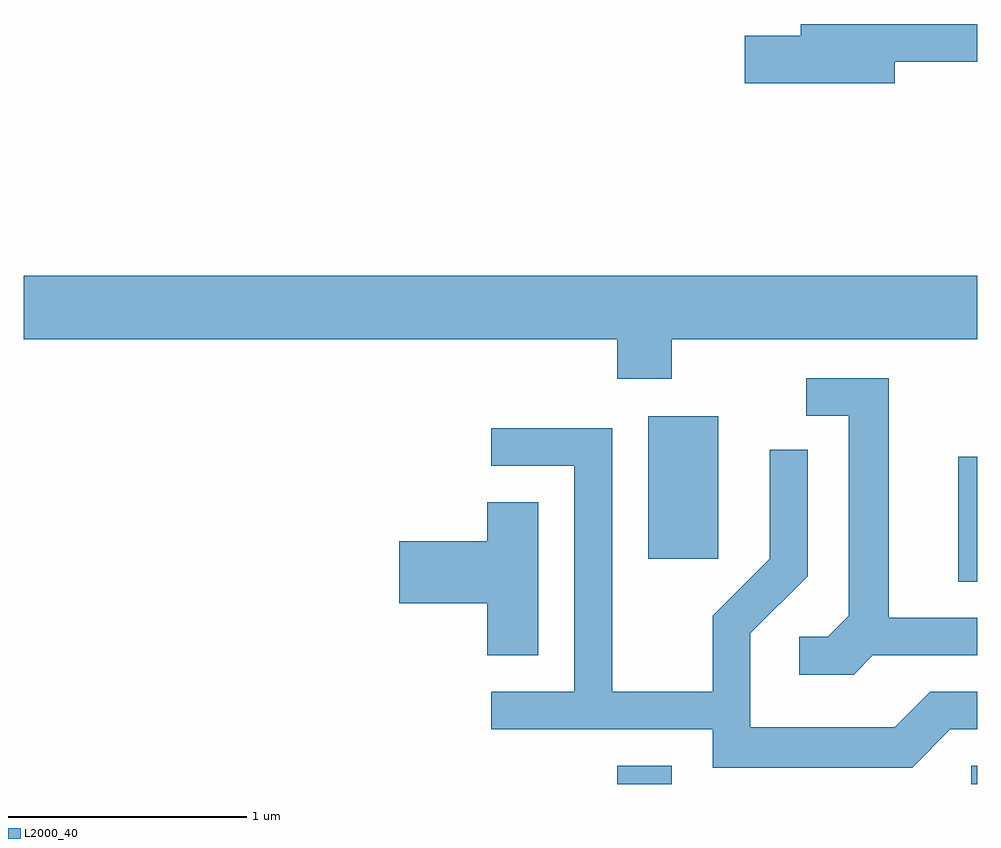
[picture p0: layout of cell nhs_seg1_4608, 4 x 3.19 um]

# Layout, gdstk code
import gdstk
lib = gdstk.Library(unit=1e-6, precision=1e-09)
def R(c, l, rs):  # rectangles x0, y0, x1, y1
    for r in rs: c.add(gdstk.rectangle(r[:2], r[2:], *l))
def P(c, l, *ps):  # polygons
    for p in ps: c.add(gdstk.Polygon(p, *l))
L2000_40 = (2000, 40)

nhs_seg1_4608 = lib.new_cell('nhs_seg1_4608')
R(nhs_seg1_4608, L2000_40, [(326.101,897.712,326.329,897.789), (327.586,897.712,327.611,897.789), (327.531,898.561,327.611,899.084), (326.231,898.656,326.524,899.254)])
P(nhs_seg1_4608, L2000_40, [(327.264,900.741),(327.611,900.741),(327.611,900.899),(326.871,900.899),(326.871,900.849),(326.636,900.849),(326.636,900.651),(327.264,900.651)],
  [(326.329,899.576),(327.611,899.576),(327.611,899.844),(323.611,899.844),(323.611,899.576),(326.101,899.576),(326.101,899.411),(326.329,899.411)],
  [(327.172,898.251),(327.611,898.251),(327.611,898.409),(327.239,898.409),(327.239,899.414),(326.893,899.414),(326.893,899.256),(327.071,899.256),(327.071,898.417),(326.984,898.329),(326.863,898.329),(326.863,898.171),(327.092,898.171)],
  [(327.497,897.941),(327.611,897.941),(327.611,898.099),(327.414,898.099),(327.264,897.949),(326.659,897.949),(326.659,898.344),(326.899,898.584),(326.899,899.113),(326.741,899.113),(326.741,898.657),(326.501,898.417),(326.501,898.099),(326.079,898.099),(326.079,899.204),(325.573,899.204),(325.573,899.046),(325.921,899.046),(325.921,898.099),(325.573,898.099),(325.573,897.941),(326.501,897.941),(326.501,897.781),(327.337,897.781)],
  [(325.769,898.894),(325.556,898.894),(325.556,898.729),(325.186,898.729),(325.186,898.471),(325.556,898.471),(325.556,898.251),(325.769,898.251)])

lib.write_gds('nhs_seg1_4608.gds')
